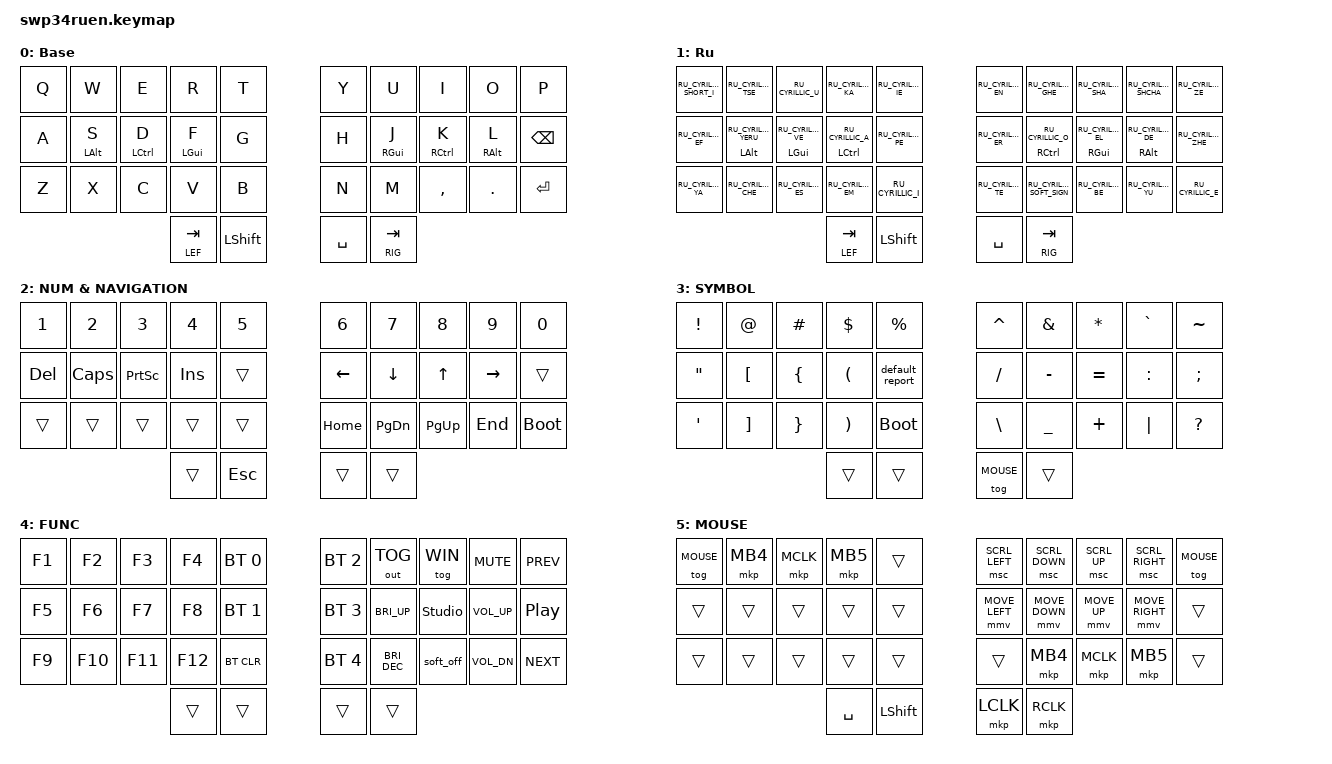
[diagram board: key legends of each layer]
// Copyright (c) 2022 The ZMK Contributors
// SPDX-License-Identifier: MIT

#define ZMK_POINTING_DEFAULT_MOVE_VAL 2500  // 600
#define ZMK_POINTING_DEFAULT_SCRL_VAL 20    // 10

#include "keys_ru.h"
#include <behaviors.dtsi>
#include <dt-bindings/zmk/bt.h>
#include <dt-bindings/zmk/keys.h>
#include <dt-bindings/zmk/outputs.h>
#include <dt-bindings/zmk/pointing.h>

#define MAC 0
#define WIN 1
#define RIG 2
#define LEF 3
#define TRI 4
#define MOUSE 5

// https: //zmk.dev/docs/development/hardware-integration/soft-off-setup?advanced-methods=wakeup&kscan-type=dkscan

/ {
    keys {
        compatible = "gpio-keys";

        soft_off_gpio_key: soft_off_gpio_key { gpios = <&gpio1 6 (GPIO_ACTIVE_LOW | GPIO_PULL_UP)>; };
    };

    wakeup_scan: wakeup_scan {
        compatible = "zmk,kscan-gpio-direct";
        input-keys = <&soft_off_gpio_key>;
        wakeup-source;
    };

    side_band_behavior_triggers: side_band_behavior_triggers {
        compatible = "zmk,kscan-sideband-behaviors";
        kscan = <&wakeup_scan>;
        auto-enable;
        wakeup-source;
    };

    soft_off_wakers {
        compatible = "zmk,soft-off-wakeup-sources";
        wakeup-sources = <&wakeup_scan>;
    };
};

/ {
    chosen { zmk,charmap = &charmap_us; };

    behaviors {
        ht: hold_tap {
            label = "hold_tap";
            compatible = "zmk,behavior-hold-tap";
            #binding-cells = <2>;
            flavor = "balanced";
            tapping-term-ms = <200>;
            quick-tap-ms = <150>;
            global-quick-tap;
            bindings = <&kp>, <&kp>;
        };

        mmv {
            acceleration-exponent = <1>;      // 1
            time-to-max-speed-ms = <300>;    // 40
            delay-ms = <0>;                   // 0
        };

        msc {
            acceleration-exponent = <0>;      // 0
            time-to-max-speed-ms = <40>;      // 500
            delay-ms = <0>;                   // 10
        };
    };

    conditional_layers {
        compatible = "zmk,conditional-layers";

        tri_layer {
            if-layers = <RIG LEF>;
            then-layer = <TRI>;
        };
    };

    combos {
        compatible = "zmk,combos";

        yo {
            bindings = <&kp RU_CYRILLIC_IO>;
            key-positions = <3 4>;
            layers = <1>;
        };

        hrdsgn {
            bindings = <&kp RU_CYRILLIC_HARD_SIGN>;
            key-positions = <25 26>;
            layers = <1>;
        };

        ha {
            bindings = <&kp RU_CYRILLIC_HA>;
            key-positions = <9 8>;
            layers = <1>;
        };
    };

    keymap {
        compatible = "zmk,keymap";

        en {
            display-name = "Base";
            bindings = <
  &kp Q  &kp W       &kp E        &kp R       &kp T                                 &kp Y        &kp U       &kp I        &kp O       &kp P
  &kp A  &ht LALT S  &ht LCTRL D  &ht LGUI F  &kp G                                 &kp H        &ht RGUI J  &ht RCTRL K  &ht RALT L  &kp BSPC
  &kp Z  &kp X       &kp C        &kp V       &kp B                                 &kp N        &kp M       &kp COMMA    &kp DOT     &kp ENTER
                                              &lt LEF TAB  &kp LSHIFT    &kp SPACE  &lt RIG TAB
            >;
        };

        ru {
            display-name = "Ru";
            bindings = <
  &kp RU_CYRILLIC_SHORT_I  &kp RU_CYRILLIC_TSE        &kp RU_CYRILLIC_U        &kp RU_CYRILLIC_KA       &kp RU_CYRILLIC_IE                           &kp RU_CYRILLIC_EN  &kp RU_CYRILLIC_GHE        &kp RU_CYRILLIC_SHA      &kp RU_CYRILLIC_SHCHA    &kp RU_CYRILLIC_ZE
  &kp RU_CYRILLIC_EF       &ht LALT RU_CYRILLIC_YERU  &ht LGUI RU_CYRILLIC_VE  &ht LCTRL RU_CYRILLIC_A  &kp RU_CYRILLIC_PE                           &kp RU_CYRILLIC_ER  &ht RCTRL RU_CYRILLIC_O    &ht RGUI RU_CYRILLIC_EL  &ht RALT RU_CYRILLIC_DE  &kp RU_CYRILLIC_ZHE
  &kp RU_CYRILLIC_YA       &kp RU_CYRILLIC_CHE        &kp RU_CYRILLIC_ES       &kp RU_CYRILLIC_EM       &kp RU_CYRILLIC_I                            &kp RU_CYRILLIC_TE  &kp RU_CYRILLIC_SOFT_SIGN  &kp RU_CYRILLIC_BE       &kp RU_CYRILLIC_YU       &kp RU_CYRILLIC_E
                                                                                                        &lt LEF TAB         &kp LSHIFT    &kp SPACE  &lt RIG TAB
            >;
        };

        right_layer {
            display-name = "NUM & NAVIGATION";
            bindings = <
  &kp N1   &kp N2    &kp N3     &kp N4   &kp N5                     &kp N6    &kp N7     &kp N8     &kp N9     &kp N0
  &kp DEL  &kp CAPS  &kp PSCRN  &kp INS  &trans                     &kp LEFT  &kp DOWN   &kp UP     &kp RIGHT  &trans
  &trans   &trans    &trans     &trans   &trans                     &kp HOME  &kp PG_DN  &kp PG_UP  &kp END    &bootloader
                                         &trans  &kp ESC    &trans  &trans
            >;
        };

        left_layer {
            display-name = "SYMBOL";
            bindings = <
  &kp EXCL  &kp AT    &kp HASH  &kp DLLR  &kp PRCNT                              &kp CARET  &kp AMPS   &kp ASTRK  &kp GRAVE  &kp TILDE
  &kp DQT   &kp LBKT  &kp LBRC  &kp LPAR  &default_report                        &kp FSLH   &kp MINUS  &kp EQUAL  &kp COLON  &kp SEMI
  &kp SQT   &kp RBKT  &kp RBRC  &kp RPAR  &bootloader                            &kp BSLH   &kp UNDER  &kp PLUS   &kp PIPE   &kp QMARK
                                          &trans           &trans    &tog MOUSE  &trans
            >;
        };

        tri_layer {
            display-name = "FUNC";
            bindings = <
  &kp F1  &kp F2   &kp F3   &kp F4   &bt BT_SEL 0                    &bt BT_SEL 2  &out OUT_TOG   &tog WIN        &kp C_MUTE    &kp C_PREV
  &kp F5  &kp F6   &kp F7   &kp F8   &bt BT_SEL 1                    &bt BT_SEL 3  &kp C_BRI_UP   &studio_unlock  &kp C_VOL_UP  &kp C_PP
  &kp F9  &kp F10  &kp F11  &kp F12  &bt BT_CLR                      &bt BT_SEL 4  &kp C_BRI_DEC  &soft_off       &kp C_VOL_DN  &kp C_NEXT
                                     &trans        &trans    &trans  &trans
            >;
        };

        mouse {
            display-name = "MOUSE";
            bindings = <
  &tog MOUSE  &mkp MB4  &mkp MCLK  &mkp MB5  &trans                              &msc SCRL_LEFT  &msc SCRL_DOWN  &msc SCRL_UP  &msc SCRL_RIGHT  &tog MOUSE
  &trans      &trans    &trans     &trans    &trans                              &mmv MOVE_LEFT  &mmv MOVE_DOWN  &mmv MOVE_UP  &mmv MOVE_RIGHT  &trans
  &trans      &trans    &trans     &trans    &trans                              &trans          &mkp MB4        &mkp MCLK     &mkp MB5         &trans
                                             &kp SPACE  &kp LSHIFT    &mkp LCLK  &mkp RCLK
            >;
        };
    };
};
